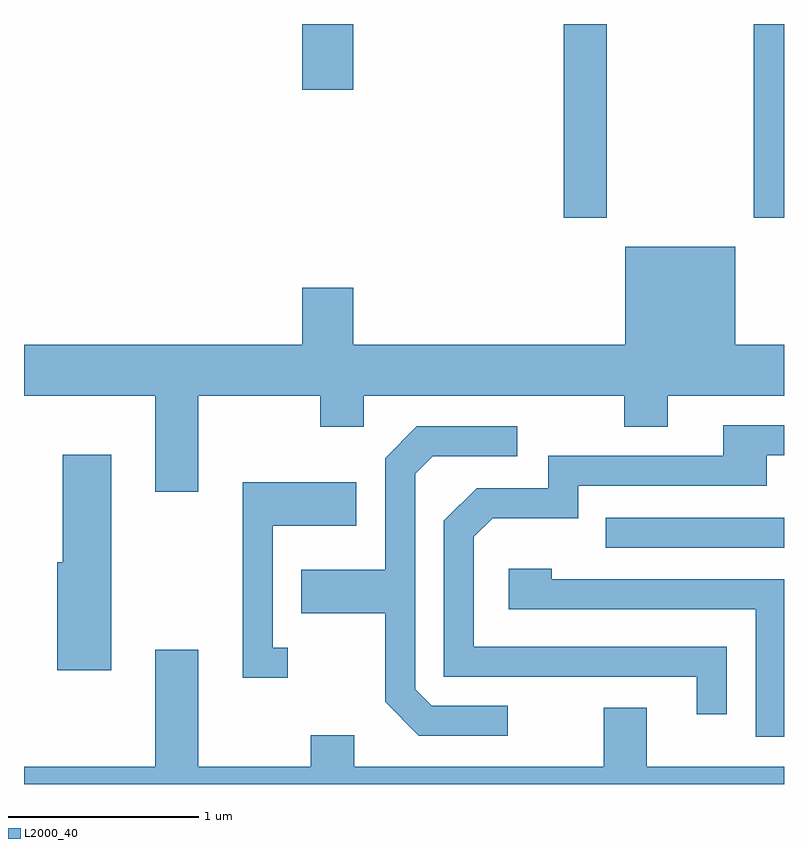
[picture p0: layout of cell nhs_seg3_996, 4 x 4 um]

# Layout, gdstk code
import gdstk
lib = gdstk.Library(unit=1e-6, precision=1e-09)
def R(c, l, rs):  # rectangles x0, y0, x1, y1
    for r in rs: c.add(gdstk.rectangle(r[:2], r[2:], *l))
def P(c, l, *ps):  # polygons
    for p in ps: c.add(gdstk.Polygon(p, *l))
L2000_40 = (2000, 40)

nhs_seg3_996 = lib.new_cell('nhs_seg3_996')
R(nhs_seg3_996, L2000_40, [(216.673,1205.136,217.611,1205.294), (216.451,1206.871,216.679,1207.892), (217.451,1206.871,217.611,1207.892), (215.076,1207.546,215.344,1207.892)])
P(nhs_seg3_996, L2000_40, [(214.529,1205.936),(215.171,1205.936),(215.171,1205.771),(215.399,1205.771),(215.399,1205.936),(216.771,1205.936),(216.771,1205.771),(216.999,1205.771),(216.999,1205.936),(217.611,1205.936),(217.611,1206.204),(217.354,1206.204),(217.354,1206.719),(216.776,1206.719),(216.776,1206.204),(215.344,1206.204),(215.344,1206.504),(215.076,1206.504),(215.076,1206.204),(213.611,1206.204),(213.611,1205.936),(214.301,1205.936),(214.301,1205.431),(214.529,1205.431)],
  [(217.309,1204.614),(215.979,1204.614),(215.979,1205.194),(216.077,1205.291),(216.529,1205.291),(216.529,1205.461),(217.519,1205.461),(217.519,1205.621),(217.611,1205.621),(217.611,1205.779),(217.291,1205.779),(217.291,1205.619),(216.371,1205.619),(216.371,1205.449),(215.994,1205.449),(215.821,1205.277),(215.821,1204.456),(217.151,1204.456),(217.151,1204.258),(217.309,1204.258)],
  [(216.158,1204.304),(215.757,1204.304),(215.669,1204.392),(215.669,1205.524),(215.762,1205.616),(216.208,1205.616),(216.208,1205.774),(215.679,1205.774),(215.511,1205.607),(215.511,1205.019),(215.071,1205.019),(215.071,1204.791),(215.511,1204.791),(215.511,1204.324),(215.689,1204.146),(216.158,1204.146)],
  [(214.069,1205.624),(213.816,1205.624),(213.816,1205.059),(213.786,1205.059),(213.786,1204.491),(214.069,1204.491)],
  [(214.998,1204.609),(214.919,1204.609),(214.919,1205.251),(215.359,1205.251),(215.359,1205.479),(214.761,1205.479),(214.761,1204.451),(214.998,1204.451)],
  [(217.611,1204.969),(216.389,1204.969),(216.389,1205.024),(216.161,1205.024),(216.161,1204.811),(217.461,1204.811),(217.461,1204.141),(217.611,1204.141)],
  [(217.611,1203.984),(216.889,1203.984),(216.889,1204.294),(216.661,1204.294),(216.661,1203.984),(215.349,1203.984),(215.349,1204.149),(215.121,1204.149),(215.121,1203.984),(214.529,1203.984),(214.529,1204.599),(214.301,1204.599),(214.301,1203.984),(213.611,1203.984),(213.611,1203.892),(217.611,1203.892)])

lib.write_gds('nhs_seg3_996.gds')
